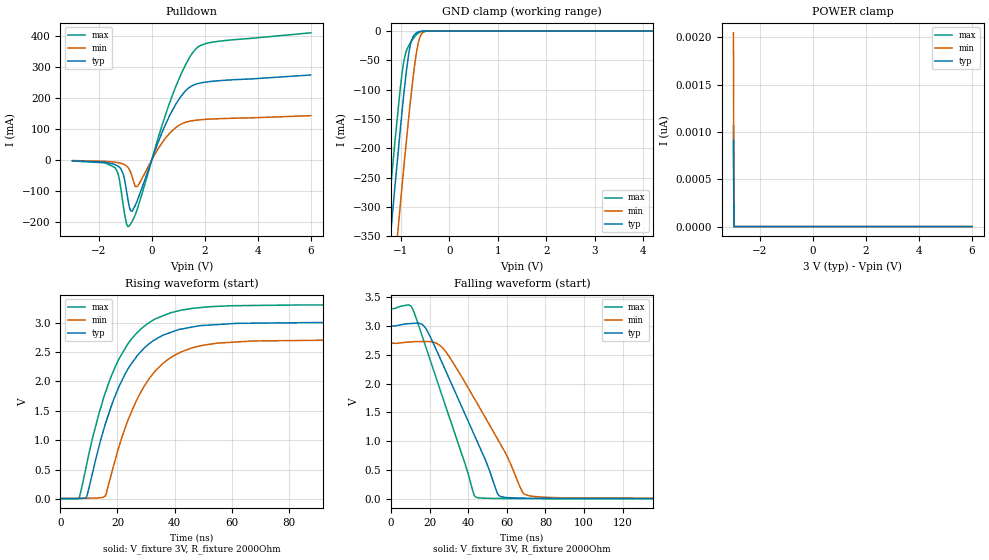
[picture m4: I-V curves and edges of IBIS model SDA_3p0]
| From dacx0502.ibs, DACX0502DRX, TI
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|   Model
[Model]   SDA_3p0
Model_type   I/O_open_drain
Polarity   Non-Inverting
Enable   Active-Low
Vinl = 0.9
Vinh = 2.1
Vmeas = 1.5
Vref = 3
Cref = 1pF
Rref = 2000
|   typ   min   max
C_comp   3.377pF   3.057pF   3.504pF
[Voltage Range]   3   2.7   3.3
[Temperature Range]   25   125   -40
[Pullup Reference]   3   2.7   3.3
[Pulldown Reference]   0   0   0
[Power Clamp Reference]   3   2.7   3.3
[GND Clamp Reference]   0   0   0
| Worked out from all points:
|   slope of the pulldown table from 0 to 0.45 V, typ, clamps not added: 4.43 ohm
|   GND clamp passes 1 mA (typ) near -0.61 V on its own axis
|   falling waveform, V_fixture 3V, R_fixture 2000Ohm: 20-80 % time 23.8ns typ, 26.9ns min, 19.8ns max; typ from 3 V to 0.006 V
|   rising waveform, V_fixture 3V, R_fixture 2000Ohm: 20-80 % time 14.4ns typ, 14.5ns min, 14.2ns max; typ from 0.006 V to 3 V
[Pulldown]
|   Voltage   I(typ)   I(min)   I(max)
-3V       -3.218mA   -2.249mA   -3.536mA
-1.389V   -15.19mA   -7.59mA    -25.7mA
-1.245V   -22.47mA   -9.606mA   -55.36mA
-1.074V   -48.2mA    -13.93mA   -150.9mA
-948mV    -104.3mA   -20.47mA   -209.2mA
-876mV    -140.8mA   -27.35mA   -215.7mA
-741mV    -165.9mA   -55.54mA   -199.4mA
-552mV    -132.1mA   -86.56mA   -160.3mA
663mV     141.6mA    85.19mA    182.4mA
1.158V    212.1mA    117.9mA    287.6mA
1.653V    244.8mA    128.2mA    358.9mA
6V        274.8mA    143mA      411.5mA
[GND Clamp]
|   Voltage   I(typ)   I(min)   I(max)
-3V       -2.092A    -2.219A    -2.017A
-1.353V   -483.7mA   -616.1mA   -404.6mA
-1.182V   -323.5mA   -455.6mA   -245.3mA
-1.119V   -265.8mA   -397.3mA   -188.9mA
-1.011V   -170.2mA   -299.1mA   -99.41mA
-930mV    -103.4mA   -227.6mA   -49.25mA
-840mV    -41.78mA   -151.7mA   -25.95mA
-777mV    -15.92mA   -102.4mA   -17.11mA
-651mV    -2.067mA   -25.52mA   -4.429mA
-570mV    -384.2uA   -4.886mA   -894.8uA
-426mV    -8.62uA    -122uA     -11.74uA
6V        0A         0A         0A
[POWER Clamp]
|   Voltage   I(typ)   I(min)   I(max)
-3V       912.4pA    2.049nA    1.062nA
-2.982V   0A         0A         0A
-2.973V   0A         0A         0A
6V        0A         0A         0A
[Ramp]
R_load = 2000
|   typ   min   max
dV/dt_r   1.79642/1.43273e-08   1.61502/1.44667e-08   1.97679/1.42031e-08
dV/dt_f   1.79642/2.38051e-08   1.61502/2.68781e-08   1.97679/1.98311e-08
[Falling Waveform]
V_fixture = 3V
V_fixture_min = 2.7V
V_fixture_max = 3.3V
R_fixture = 2000Ohm
C_fixture = 0F
|   Time   V(typ)   V(min)   V(max)
0s        3V         2.7V       3.3V
11.35ns   3.043V     2.725V     3.284V
17.92ns   2.961V     2.728V     2.647V
26.84ns   2.334V     2.614V     1.754V
42.93ns   1.125V     1.754V     79.64mV
45.03ns   967.7mV    1.634V     21.77mV
55.63ns   70.04mV    1.012V     8.883mV
67.9ns    14.33mV    130.7mV    7.349mV
72.84ns   12.36mV    48.8mV     6.73mV
500ns     5.964mV    8.292mV    5.357mV
[Rising Waveform]
V_fixture = 3V
V_fixture_min = 2.7V
V_fixture_max = 3.3V
R_fixture = 2000Ohm
C_fixture = 0F
|   Time   V(typ)   V(min)   V(max)
0s        5.964mV    8.29mV     5.357mV
6.583ns   7.73mV     12.12mV    16.46mV
9.217ns   38.49mV    13.65mV    594.8mV
15.61ns   1.254V     45.33mV    1.789V
23.54ns   2.199V     1.323V     2.63V
27.43ns   2.465V     1.75V      2.853V
33.26ns   2.712V     2.176V     3.061V
45.98ns   2.922V     2.567V     3.24V
90.92ns   2.999V     2.699V     3.3V
500ns     3V         2.7V       3.3V
